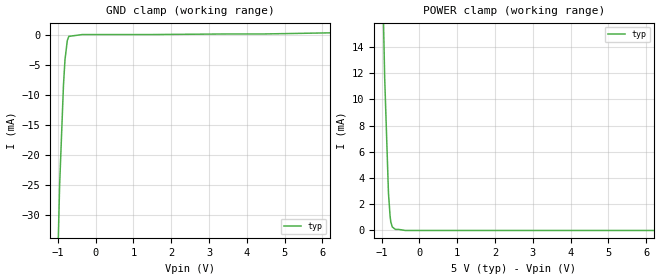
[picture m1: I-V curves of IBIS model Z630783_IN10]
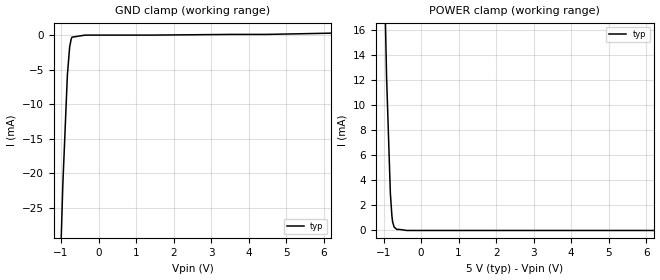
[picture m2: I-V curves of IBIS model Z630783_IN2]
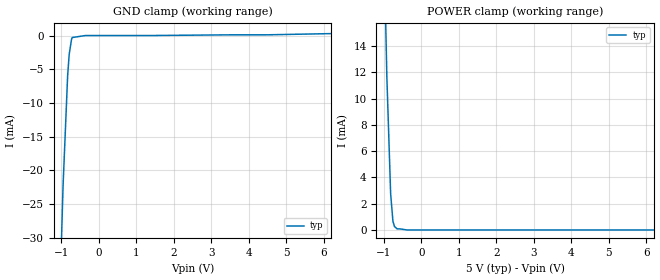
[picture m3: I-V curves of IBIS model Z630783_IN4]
| YOU ARE ONLY AUTHORIZED TO USE THIS SOFTWARE
| ACCORDING TO LICENSOR'S LICENSE RESTRICTIONS.
[IBIS Ver] 3.1
[File Name] mc100ep139dt_50.ibs
[File Rev] 2.0
[Source] Measured and created by ICX Technology
[Date] Monday 10/30/00 3:36:28 PM
[Copyright]
| (C) COPYRIGHT 1993-2000
| MENTOR GRAPHICS CORPORATION
| ICX STANDARD LIBRARY, ICX PROJECT MODELING,
| ICX CUSTOM MODELING, ICX VENDOR MODEL
| ALL RIGHTS RESERVED.
| THE FOLLOWING ARE TRADEMARKS OR SERVICE MARKS OF
| MENTOR GRAPHICS CORPORATION:ICX (R), ICX STANDARD
| LIBRARY(R), ICX PROJECT MODELING(R), ICX CUSTOM
| MODELING(R), qualityIBIS(TM), MODELVIEWER(TM),
| AND MODELEDITOR(TM)
| ALL COPIES OF SOFTWARE, INCLUDING BUT NOT LIMITED TO
| ANY MODIFICATIONS, ENHANCEMENTS OR DERIVATIVE WORKS,
| MUST CONTAIN ALL MENTOR GRAPHICS CORPORATION'S
| NOTICES AND LEGENDS, INCLUDING THOSE EMBEDDED IN
| SOFTWARE AND THOSE AFFIXED TO SOFTWARE MEDIUM
| AND CONTAINER, AS RECEIVED FROM MENTOR GRAPHICS
| CORPORATION.
|  ZAP Model Builder 2.8
[Component] MC100EP139DT_50
[Manufacturer] ON
[Package]
| variable   typ   min   max
R_pkg  .18ohms NA NA
L_pkg  4.22nH NA NA
C_pkg  .41pF NA NA
[Pin] signal_name  model_name  R_pin  L_pin C_pin
1 VCC POWER .194 5.16n .43p
2 _EN Z630783_IN2 .185 4.57n .42p
3 DIV_SELB0 Z630783_IN10 .177 3.98n .42p
4 CLK Z630783_IN4 .174 3.79n .41p
5 _CLK Z630783_IN4 .171 3.6n .37p
6 VBB POWER .171 3.6n .37p
7 MR Z630783_IN7 .174 3.79n .41p
8 VCC POWER .177 3.98n .42p
9 DIV_SELB1 Z630783_IN10 .185 4.57n .42p
10 DIV_SELA Z630783_IN10 .194 5.16n .43p
11 VEE POWER .194 5.16n .43p
12 _Q3 Z630783_OUT13 .185 4.57n .42p
13 Q3 Z630783_OUT13 .177 3.98n .42p
14 _Q2 Z630783_OUT13 .174 3.79n .41p
15 Q2 Z630783_OUT13 .171 3.6n .37p
16 _Q1 Z630783_OUT17 .171 3.6n .37p
17 Q1 Z630783_OUT17 .174 3.79n .41p
18 _Q0 Z630783_OUT17 .177 3.98n .42p
19 Q0 Z630783_OUT17 .185 4.57n .42p
20 VCC POWER .194 5.16n .43p
[Diff Pin] inv_pin vdiff tdelay_typ tdelay_min tdelay_max
4 5 800mv NA NA NA
13 12 NA .05ns NA NA
15 14 NA .05ns NA NA
17 16 NA .05ns NA NA
19 18 NA .05ns NA NA
| Models and submodels in the file (6): Z630783_IN10 (Input_ECL), Z630783_IN2 (Input_ECL), Z630783_IN4 (Input_ECL), Z630783_IN7 (Input_ECL), Z630783_OUT13 (Output_ECL), Z630783_OUT17 (Output_ECL)
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| (C) COPYRIGHT 1993-2000
| MENTOR GRAPHICS CORPORATION
| ICX STANDARD LIBRARY, ICX PROJECT MODELING,
| ICX CUSTOM MODELING, ICX VENDOR MODEL
| ALL RIGHTS RESERVED.
| THE FOLLOWING ARE TRADEMARKS OR SERVICE MARKS OF
| MENTOR GRAPHICS CORPORATION:ICX (R), ICX STANDARD
| LIBRARY(R), ICX PROJECT MODELING(R), ICX CUSTOM
| MODELING(R), qualityIBIS(TM), MODELVIEWER(TM),
| AND MODELEDITOR(TM)
| ALL COPIES OF SOFTWARE, INCLUDING BUT NOT LIMITED TO
| ANY MODIFICATIONS, ENHANCEMENTS OR DERIVATIVE WORKS,
| MUST CONTAIN ALL MENTOR GRAPHICS CORPORATION'S
| NOTICES AND LEGENDS, INCLUDING THOSE EMBEDDED IN
| SOFTWARE AND THOSE AFFIXED TO SOFTWARE MEDIUM
| AND CONTAINER, AS RECEIVED FROM MENTOR GRAPHICS
| CORPORATION.
| Model Application Version 1.89 2/18/99.
[Model] Z630783_IN10
Model_type Input_ECL
Vinl = 3.357V
Vinh = 3.977V
C_comp 3.000pF NA NA
| variable typ   min   max
[Voltage Range] 5.000V NA NA
[GND Clamp Reference] 0.000V NA NA
[POWER Clamp Reference] 5.000V NA NA
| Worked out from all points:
|   GND clamp passes 1 mA (typ) near -0.75 V on its own axis
|   POWER clamp passes 1 mA (typ) near -0.77 V on its own axis
[GND Clamp]
-5V       -1.381A    NA         NA
-1.074V   -56.5mA    NA         NA
-953mV    -25.1mA    NA         NA
-851mV    -8.4mA     NA         NA
-811mV    -4.2mA     NA         NA
-750mV    -1mA       NA         NA
-709mV    -300uA     NA         NA
-354.5mV  0A         NA         NA
1.429V    0A         NA         NA
3.507V    100uA      NA         NA
4.45V     100uA      NA         NA
10V       688.9uA    NA         NA
[POWER Clamp]
-5V       716.2mA    NA         NA
-1.061V   31.43mA    NA         NA
-919mV    11.74mA    NA         NA
-818mV    2.855mA    NA         NA
-777mV    1.159mA    NA         NA
-757mV    661.3uA    NA         NA
-716mV    265.6uA    NA         NA
-635mV    82.81uA    NA         NA
-554mV    82.81uA    NA         NA
-369.3mV  0A         NA         NA
10V       0A         NA         NA
| (C) COPYRIGHT 1993-2000
| MENTOR GRAPHICS CORPORATION
| ICX STANDARD LIBRARY, ICX PROJECT MODELING,
| ICX CUSTOM MODELING, ICX VENDOR MODEL
| ALL RIGHTS RESERVED.
| THE FOLLOWING ARE TRADEMARKS OR SERVICE MARKS OF
| MENTOR GRAPHICS CORPORATION:ICX (R), ICX STANDARD
| LIBRARY(R), ICX PROJECT MODELING(R), ICX CUSTOM
| MODELING(R), qualityIBIS(TM), MODELVIEWER(TM),
| AND MODELEDITOR(TM)
| ALL COPIES OF SOFTWARE, INCLUDING BUT NOT LIMITED TO
| ANY MODIFICATIONS, ENHANCEMENTS OR DERIVATIVE WORKS,
| MUST CONTAIN ALL MENTOR GRAPHICS CORPORATION'S
| NOTICES AND LEGENDS, INCLUDING THOSE EMBEDDED IN
| SOFTWARE AND THOSE AFFIXED TO SOFTWARE MEDIUM
| AND CONTAINER, AS RECEIVED FROM MENTOR GRAPHICS
| CORPORATION.
| Model Application Version 1.89 2/18/99.
[Model] Z630783_IN2
Model_type Input_ECL
Vinl = 3.357V
Vinh = 3.977V
C_comp 3.000pF NA NA
| variable typ   min   max
[Voltage Range] 5.000V NA NA
[GND Clamp Reference] 0.000V NA NA
[POWER Clamp Reference] 5.000V NA NA
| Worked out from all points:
|   GND clamp passes 1 mA (typ) near -0.74 V on its own axis
|   POWER clamp passes 1 mA (typ) near -0.77 V on its own axis
[GND Clamp]
-5V       -898.1mA   NA         NA
-1.074V   -43.8mA    NA         NA
-953mV    -21.8mA    NA         NA
-831mV    -5.8mA     NA         NA
-770mV    -1.7mA     NA         NA
-730mV    -600uA     NA         NA
-709mV    -300uA     NA         NA
-354.5mV  0A         NA         NA
1.429V    0A         NA         NA
3.507V    100uA      NA         NA
4.46V     100uA      NA         NA
10V       681.7uA    NA         NA
[POWER Clamp]
-5V       745.2mA    NA         NA
-1.041V   29.53mA    NA         NA
-919mV    12.25mA    NA         NA
-818mV    2.957mA    NA         NA
-777mV    1.162mA    NA         NA
-757mV    663.8uA    NA         NA
-716mV    268.1uA    NA         NA
-645mV    82.99uA    NA         NA
-574mV    82.99uA    NA         NA
-382.7mV  0A         NA         NA
10V       0A         NA         NA
| (C) COPYRIGHT 1993-2000
| MENTOR GRAPHICS CORPORATION
| ICX STANDARD LIBRARY, ICX PROJECT MODELING,
| ICX CUSTOM MODELING, ICX VENDOR MODEL
| ALL RIGHTS RESERVED.
| THE FOLLOWING ARE TRADEMARKS OR SERVICE MARKS OF
| MENTOR GRAPHICS CORPORATION:ICX (R), ICX STANDARD
| LIBRARY(R), ICX PROJECT MODELING(R), ICX CUSTOM
| MODELING(R), qualityIBIS(TM), MODELVIEWER(TM),
| AND MODELEDITOR(TM)
| ALL COPIES OF SOFTWARE, INCLUDING BUT NOT LIMITED TO
| ANY MODIFICATIONS, ENHANCEMENTS OR DERIVATIVE WORKS,
| MUST CONTAIN ALL MENTOR GRAPHICS CORPORATION'S
| NOTICES AND LEGENDS, INCLUDING THOSE EMBEDDED IN
| SOFTWARE AND THOSE AFFIXED TO SOFTWARE MEDIUM
| AND CONTAINER, AS RECEIVED FROM MENTOR GRAPHICS
| CORPORATION.
| Model Application Version 1.89 2/18/99.
[Model] Z630783_IN4
Model_type Input_ECL
Vinl = 3.357V
Vinh = 3.977V
C_comp 3.000pF NA NA
| variable typ   min   max
[Voltage Range] 5.000V NA NA
[GND Clamp Reference] 0.000V NA NA
[POWER Clamp Reference] 5.000V NA NA
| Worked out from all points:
|   GND clamp passes 1 mA (typ) near -0.74 V on its own axis
|   POWER clamp passes 1 mA (typ) near -0.77 V on its own axis
[GND Clamp]
-5V       -943.8mA   NA         NA
-1.074V   -45.2mA    NA         NA
-953mV    -22.2mA    NA         NA
-831mV    -5.9mA     NA         NA
-790mV    -2.8mA     NA         NA
-729mV    -600uA     NA         NA
-709mV    -300uA     NA         NA
-354.5mV  0A         NA         NA
1.429V    0A         NA         NA
3.507V    100uA      NA         NA
4.46V     100uA      NA         NA
10V       681.7uA    NA         NA
[POWER Clamp]
-5V       689.7mA    NA         NA
-1.041V   27.83mA    NA         NA
-919mV    11.65mA    NA         NA
-818mV    2.757mA    NA         NA
-757mV    663.8uA    NA         NA
-716mV    268.1uA    NA         NA
-645mV    82.99uA    NA         NA
-574mV    82.99uA    NA         NA
-382.7mV  0A         NA         NA
10V       0A         NA         NA
